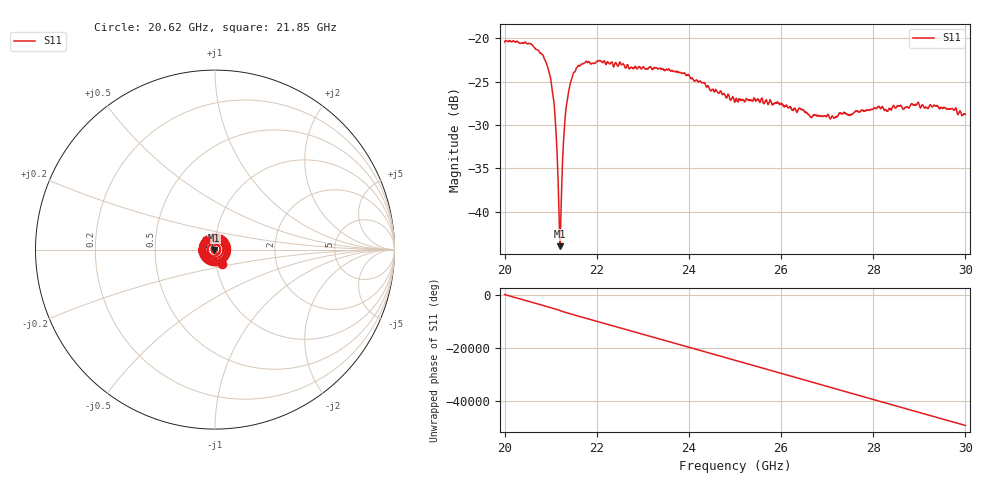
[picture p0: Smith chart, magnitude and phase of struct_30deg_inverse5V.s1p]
#  HZ  S  RI  R  50.00
! Rohde & Schwarz ZVA40 4Ports - Version 3.90 - 1145.1110k42 SN: 100403
! Date: 2023-09-30 07:16:14
! Measurement: S12
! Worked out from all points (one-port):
!   5001 points, 20 GHz to 30 GHz, reference 50 ohm
!   lowest |S11| = -44.0 dB at 21.2 GHz (marker M1), VSWR 1.01, Z = 49.4 - j0.173 ohm
!   |S11| at or under -10 dB: start of sweep to end of sweep
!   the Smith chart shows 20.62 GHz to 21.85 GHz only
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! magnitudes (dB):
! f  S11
! 20 GHz  -20.4
! 20.57 GHz  -20.7
! 20.81 GHz  -21.9
! 20.92 GHz  -23.1
! 21.01 GHz  -25.1
! 21.07 GHz  -27.4
! 21.12 GHz  -30.9
! 21.17 GHz  -38.3
! 21.2 GHz  -44.0
! 21.23 GHz  -39.4
! 21.25 GHz  -35.2
! 21.29 GHz  -30.8
! 21.35 GHz  -27.6
! 21.43 GHz  -25.1
! 21.52 GHz  -23.9
! 21.79 GHz  -22.7
! 22.5 GHz  -22.8
! 23.75 GHz  -23.8
! 25 GHz  -27.3
! 25.55 GHz  -27.4
! 26.25 GHz  -28.3
! 26.44 GHz  -28.2
! 26.65 GHz  -29.1
! 27.5 GHz  -28.8
! 28.08 GHz  -28.0
! 28.75 GHz  -28.0
! 29.35 GHz  -27.8
! 30 GHz  -28.8
